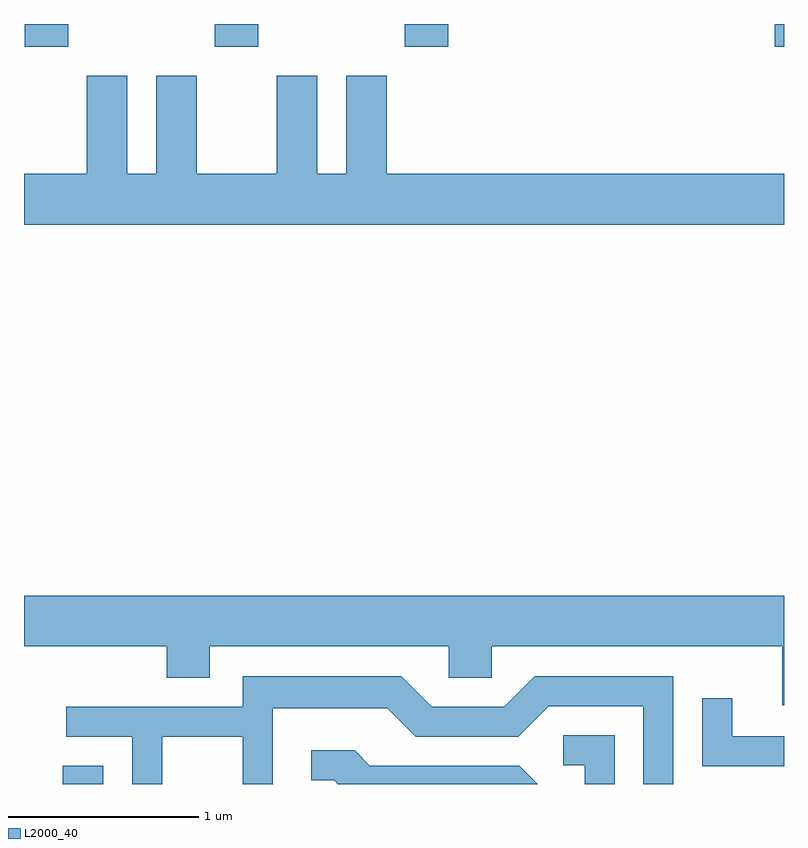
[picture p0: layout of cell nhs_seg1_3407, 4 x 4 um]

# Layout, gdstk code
import gdstk
lib = gdstk.Library(unit=1e-6, precision=1e-09)
def R(c, l, rs):  # rectangles x0, y0, x1, y1
    for r in rs: c.add(gdstk.rectangle(r[:2], r[2:], *l))
def A(c, l, x, y, w, h, nx, ny, dx, dy):  # array of equal rectangles
    R(c, l, [(x+i*dx, y+j*dy, x+i*dx+w, y+j*dy+h) for i in range(nx) for j in range(ny)])
def P(c, l, *ps):  # polygons
    for p in ps: c.add(gdstk.Polygon(p, *l))
L2000_40 = (2000, 40)

nhs_seg1_3407 = lib.new_cell('nhs_seg1_3407')
A(nhs_seg1_3407, L2000_40, 287.616, 931.591, 0.228, 0.121, 3, 1, 1, 0)
R(nhs_seg1_3407, L2000_40, [(287.816,927.712,288.029,927.809), (291.561,931.591,291.611,931.712)])
P(nhs_seg1_3407, L2000_40, [(291.611,930.924),(289.519,930.924),(289.519,931.439),(289.306,931.439),(289.306,930.924),(289.154,930.924),(289.154,931.439),(288.941,931.439),(288.941,930.924),(288.519,930.924),(288.519,931.439),(288.306,931.439),(288.306,930.924),(288.154,930.924),(288.154,931.439),(287.941,931.439),(287.941,930.924),(287.611,930.924),(287.611,930.656),(291.611,930.656)],
  [(291.611,928.704),(287.611,928.704),(287.611,928.436),(288.361,928.436),(288.361,928.271),(288.589,928.271),(288.589,928.436),(289.846,928.436),(289.846,928.271),(290.074,928.271),(290.074,928.436),(291.601,928.436),(291.601,928.126),(291.611,928.126)],
  [(288.339,927.961),(288.761,927.961),(288.761,927.712),(288.924,927.712),(288.919,927.717),(288.919,928.111),(289.524,928.111),(289.674,927.961),(290.212,927.961),(290.372,928.121),(290.871,928.121),(290.871,927.712),(291.029,927.712),(291.029,928.279),(290.299,928.279),(290.139,928.119),(289.757,928.119),(289.597,928.279),(288.761,928.279),(288.761,928.119),(287.833,928.119),(287.833,927.961),(288.181,927.961),(288.181,927.712),(288.339,927.712)],
  [(291.611,927.964),(291.339,927.964),(291.339,928.163),(291.181,928.163),(291.181,927.806),(291.611,927.806)],
  [(290.719,927.969),(290.448,927.969),(290.448,927.811),(290.561,927.811),(290.561,927.712),(290.719,927.712)],
  [(290.217,927.809),(289.432,927.809),(289.352,927.889),(289.123,927.889),(289.123,927.731),(289.244,927.731),(289.263,927.712),(290.314,927.712)])

lib.write_gds('nhs_seg1_3407.gds')
